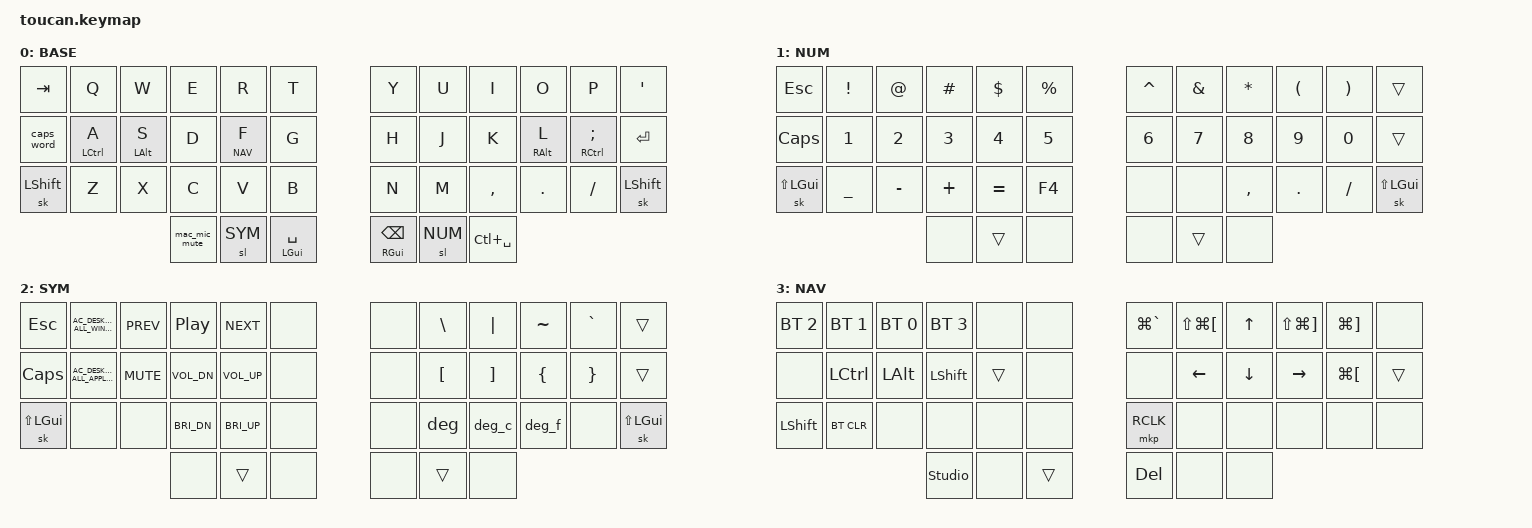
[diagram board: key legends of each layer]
#include <behaviors.dtsi>
#include <dt-bindings/zmk/keys.h>
#include <dt-bindings/zmk/bt.h>
#include <dt-bindings/zmk/outputs.h>
#include <dt-bindings/zmk/pointing.h>

#define BASE 0
#define NUM  1
#define SYM  2
#define NAV  3

/ {
    macros {
        // Universal Mac Mic Mute: Ctrl + Opt + Shift + Cmd + M        
        mac_mic_mute: mac_mic_mute {
            compatible = "zmk,behavior-macro";
            #binding-cells = <0>;
            bindings = <&kp LC(LA(LS(LG(M))))>; 
        };

        // Types ° (Option+Shift+8)
        deg: deg {
            compatible = "zmk,behavior-macro";
            #binding-cells = <0>;
            wait-ms = <30>;
            tap-ms = <40>;
            bindings = <&kp LA(LS(N8))>;
        };

        // Types °C (Option+Shift+8, then Shift+C)
        deg_c: deg_c {
            compatible = "zmk,behavior-macro";
            #binding-cells = <0>;
            wait-ms = <30>;
            tap-ms = <40>;
            bindings = <&kp LA(LS(N8)) &kp LS(C)>;
        };

        // Types °F (Option+Shift+8, then Shift+F)
        deg_f: deg_f {
            compatible = "zmk,behavior-macro";
            #binding-cells = <0>;
            wait-ms = <30>;
            tap-ms = <40>;
            bindings = <&kp LA(LS(N8)) &kp LS(F)>;
        };
    };

    behaviors {
        // Left-hand Home Row Mods
        hm_l: homerow_mods_left {
            compatible = "zmk,behavior-hold-tap";
            label = "HOMEROW_MODS_LEFT";
            #binding-cells = <2>;
            tapping-term-ms = <250>;
            quick-tap-ms = <150>;
            require-prior-idle-ms = <150>;
            flavor = "balanced";
            bindings = <&kp>, <&kp>;
            // Only trigger if a key on the right half of the keyboard is pressed
            hold-trigger-key-positions = <6 7 8 9 10 11 18 19 20 21 22 23 30 31 32 33 34 35 39 40 41>;
        };

        // Right-hand Home Row Mods
        hm_r: homerow_mods_right {
            compatible = "zmk,behavior-hold-tap";
            label = "HOMEROW_MODS_RIGHT";
            #binding-cells = <2>;
            tapping-term-ms = <250>;
            quick-tap-ms = <150>;
            require-prior-idle-ms = <150>;
            flavor = "balanced";
            bindings = <&kp>, <&kp>;
            // Only trigger if a key on the left half of the keyboard is pressed
            hold-trigger-key-positions = <0 1 2 3 4 5 12 13 14 15 16 17 24 25 26 27 28 29 36 37 38>;
        };

        // Thumb Mod-Taps
        mt_thumb: mod_tap_thumb {
            compatible = "zmk,behavior-hold-tap";
            label = "MOD_TAP_THUMB";
            #binding-cells = <2>;
            tapping-term-ms = <200>;
            quick-tap-ms = <150>;
            require-prior-idle-ms = <150>;
            flavor = "balanced";
            bindings = <&kp>, <&kp>;
        };
    };

    keymap {
        compatible = "zmk,keymap";

        base {
            display-name = "BASE";
            bindings = <
                &kp TAB     &kp Q         &kp W         &kp E       &kp R       &kp T                   &kp Y       &kp U       &kp I       &kp O         &kp P             &kp SQT
                &caps_word  &hm_l LCTRL A &hm_l LALT S  &kp D       &lt NAV F   &kp G                   &kp H       &kp J       &kp K       &hm_r RALT L  &hm_r RCTRL SEMI  &kp ENTER
                &sk LSHFT   &kp Z         &kp X         &kp C       &kp V       &kp B                   &kp N       &kp M       &kp COMMA   &kp DOT       &kp FSLH          &sk LSHFT
                                          &mac_mic_mute     &sl SYM     &mt_thumb LGUI SPACE        &mt_thumb RGUI BSPC     &sl NUM     &kp LC(SPACE)           
            >;
        };

        num {
            display-name = "NUM";
            bindings = <
                &kp ESC      &kp EXCL   &kp AT      &kp HASH    &kp DLLR    &kp PRCNT       &kp CARET  &kp AMPS   &kp ASTRK  &kp LPAR   &kp RPAR   &trans
                &kp CAPS     &kp N1     &kp N2      &kp N3      &kp N4      &kp N5          &kp N6     &kp N7     &kp N8     &kp N9     &kp N0     &trans
                &sk LS(LGUI) &kp UNDER  &kp MINUS   &kp PLUS    &kp EQUAL   &kp F4          &none      &none      &kp COMMA  &kp DOT    &kp FSLH   &sk LS(LGUI)
                                        &none       &trans      &none                       &none      &trans     &none           
            >;
        };

        sym {
            display-name = "SYM";
            bindings = <
                &kp ESC      &kp C_AC_DESKTOP_SHOW_ALL_WINDOWS      &kp C_PREV  &kp C_PP      &kp C_NEXT    &none       &none   &kp BSLH   &kp PIPE   &kp TILDE  &kp GRAVE  &trans
                &kp CAPS     &kp C_AC_DESKTOP_SHOW_ALL_APPLICATIONS &kp C_MUTE  &kp C_VOL_DN  &kp C_VOL_UP  &none       &none   &kp LBKT   &kp RBKT   &kp LBRC   &kp RBRC   &trans
                &sk LS(LGUI) &none                                  &none       &kp C_BRI_DN  &kp C_BRI_UP  &none       &none   &deg       &deg_c     &deg_f     &none      &sk LS(LGUI)
                                                                    &none       &trans        &none                     &none   &trans     &none           
            >;
        };

        nav {
            display-name = "NAV";
            bindings = <
                &bt BT_SEL 2    &bt BT_SEL 1 &bt BT_SEL 0 &bt BT_SEL 3 &none  &none         &kp LG(GRAVE) &kp LS(LG(LBKT)) &kp UP     &kp LS(LG(RBKT)) &kp LG(RBKT) &none
                &none           &kp LCTRL    &kp LALT     &kp LSHFT    &trans &none         &none         &kp LEFT         &kp DOWN   &kp RIGHT        &kp LG(LBKT) &trans
                &kp LSHFT       &bt BT_CLR   &none        &none        &none  &none         &mkp RCLK     &none            &none      &none            &none        &none
                                             &studio_unlock &none  &trans                   &kp DEL       &none        &none           
            >;
        };

        // Extra layers required by ZMK Studio to allow runtime additions
        extra_1 {
            status = "reserved";
        };
        extra_2 {
            status = "reserved";
        };
    };
};
